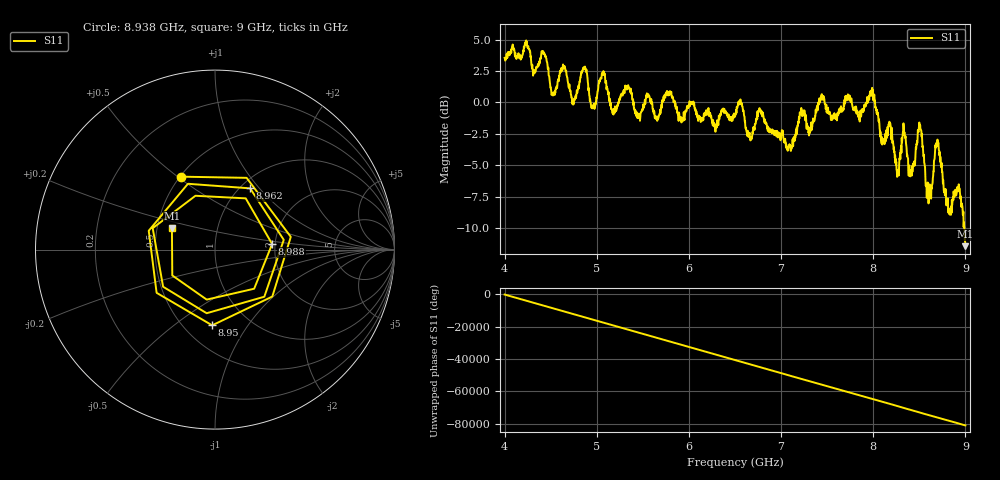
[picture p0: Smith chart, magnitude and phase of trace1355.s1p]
! Created with skrf 1.8.0 (http://scikit-rf.org).
# Hz S RI R 50.0
!freq ReS11 ImS11
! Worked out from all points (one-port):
!   1601 points, 4 GHz to 9 GHz, reference 50 ohm
!   lowest |S11| = -11.5 dB at 9 GHz (marker M1), VSWR 1.73, Z = 29.9 + j7.62 ohm
!   |S11| at or under -10 dB: 8.988953 GHz to end of sweep
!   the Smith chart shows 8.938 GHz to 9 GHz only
!   S11 on the Smith chart (normalised r, x): 8.938 GHz: 0.50, +0.51; 8.95 GHz: 0.68, -0.70; 8.962 GHz: 1.11, +0.89; 8.988 GHz: 1.93, +0.13; 9 GHz: 0.60, +0.15
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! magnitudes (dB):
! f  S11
! 4 GHz  3.6
! 4.425 GHz  4.0
! 4.528 GHz  0.6
! 4.625 GHz  2.5
! 4.744 GHz  -0.2
! 4.866 GHz  2.7
! 4.959 GHz  -0.4
! 5.062 GHz  2.2
! 5.25 GHz  0.2
! 5.875 GHz  -0.8
! 6.5 GHz  -1.1
! 7.125 GHz  -2.9
! 7.228 GHz  -0.7
! 7.75 GHz  0.1
! 7.988 GHz  1.2
! 8.1 GHz  -3.0
! 8.262 GHz  -5.9
! 8.334 GHz  -2.6
! 8.375 GHz  -4.4
! 8.506 GHz  -2.1
! 8.603 GHz  -7.4
! 8.697 GHz  -3.0
! 8.819 GHz  -8.4
! 8.938 GHz  -7.0
! 8.95 GHz  -7.5
! 8.962 GHz  -8.1
! 8.988 GHz  -9.9
! 9 GHz  -11.5
